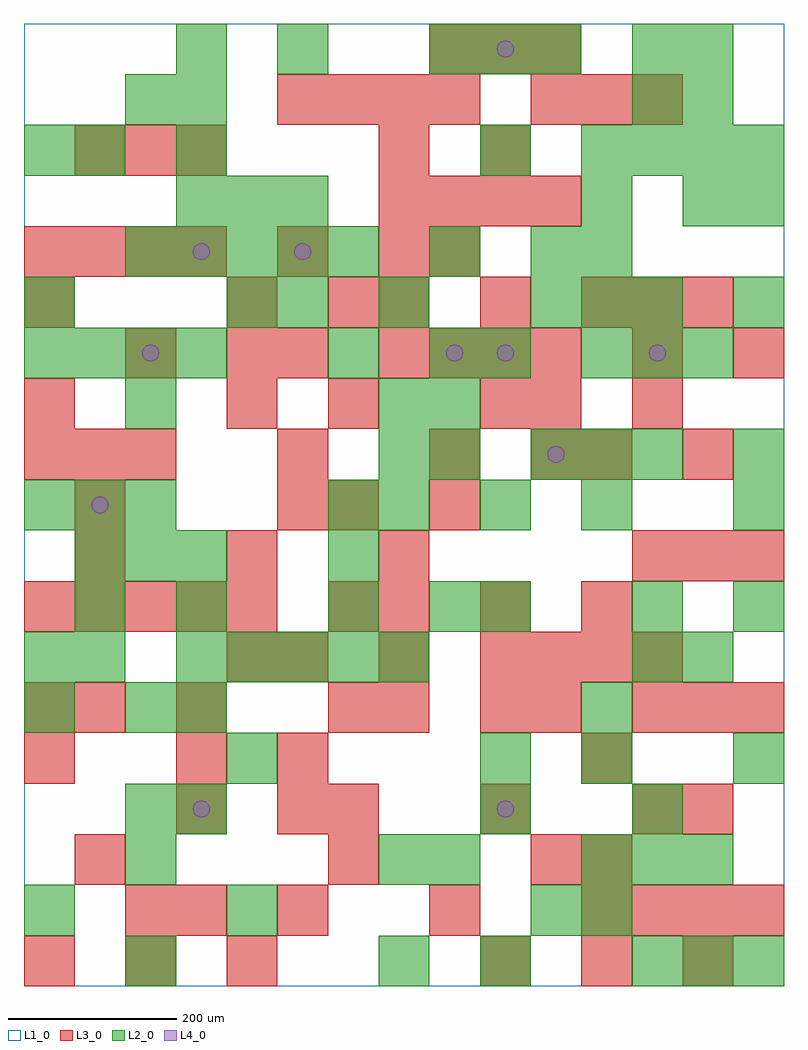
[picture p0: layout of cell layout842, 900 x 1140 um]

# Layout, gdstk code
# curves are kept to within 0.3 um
import gdstk
lib = gdstk.Library(unit=1e-6, precision=1e-09)
def R(c, l, rs):  # rectangles x0, y0, x1, y1
    for r in rs: c.add(gdstk.rectangle(r[:2], r[2:], *l))
def A(c, l, x, y, w, h, nx, ny, dx, dy):  # array of equal rectangles
    R(c, l, [(x+i*dx, y+j*dy, x+i*dx+w, y+j*dy+h) for i in range(nx) for j in range(ny)])
def P(c, l, *ps):  # polygons
    for p in ps: c.add(gdstk.Polygon(p, *l))
L1_0 = (1, 0)
L2_0 = (2, 0)
L3_0 = (3, 0)
L4_0 = (4, 0)

layout842 = lib.new_cell('layout842')
R(layout842, L1_0, [(0,0,900,1140)])
A(layout842, L2_0, 720, 0, 60, 60, 3, 1, 60, 0)
A(layout842, L2_0, 660, 120, 60, 60, 3, 2, 60, 600)
A(layout842, L2_0, 180, 180, 60, 60, 1, 3, 0, 120)
A(layout842, L2_0, 120, 300, 60, 60, 1, 3, 0, 360)
A(layout842, L2_0, 180, 360, 60, 60, 5, 1, 60, 0)
A(layout842, L2_0, 360, 420, 60, 60, 1, 3, 0, 60)
A(layout842, L2_0, 60, 480, 60, 60, 3, 1, 60, 0)
A(layout842, L2_0, 0, 540, 60, 60, 3, 1, 60, 0)
A(layout842, L2_0, 420, 540, 60, 60, 3, 1, 120, 0)
A(layout842, L2_0, 480, 600, 60, 60, 1, 3, 0, 60)
A(layout842, L2_0, 600, 600, 60, 60, 3, 2, 60, 180)
A(layout842, L2_0, 0, 720, 60, 60, 4, 1, 60, 0)
A(layout842, L2_0, 120, 840, 60, 60, 5, 1, 60, 0)
A(layout842, L2_0, 180, 900, 60, 60, 3, 1, 60, 0)
A(layout842, L2_0, 180, 960, 60, 60, 1, 3, 0, 60)
A(layout842, L2_0, 660, 960, 60, 60, 4, 1, 60, 0)
A(layout842, L2_0, 480, 1080, 60, 60, 3, 1, 60, 0)
R(layout842, L2_0, [(120,0,180,60), (420,0,480,60), (540,0,600,60), (0,60,60,120), (240,60,300,120), (600,60,660,120), (660,60,720,120), (120,120,180,180), (420,120,480,180), (480,120,540,180), (120,180,180,240), (540,180,600,240), (720,180,780,240), (240,240,300,300), (540,240,600,300), (660,240,720,300), (840,240,900,300), (0,300,60,360), (660,300,720,360), (0,360,60,420), (60,360,120,420), (720,360,780,420), (780,360,840,420), (60,420,120,480), (480,420,540,480), (540,420,600,480), (720,420,780,480), (840,420,900,480), (840,540,900,600), (420,600,480,660), (840,600,900,660), (420,660,480,720), (360,720,420,780), (540,720,600,780), (0,780,60,840), (240,780,300,840), (300,780,360,840), (420,780,480,840), (840,780,900,840), (480,840,540,900), (600,840,660,900), (660,840,720,900), (660,900,720,960), (780,900,840,960), (840,900,900,960), (0,960,60,1020), (60,960,120,1020), (540,960,600,1020), (720,1020,780,1080), (780,1020,840,1080), (300,1080,360,1140), (720,1080,780,1140), (780,1080,840,1140)])
A(layout842, L3_0, 0, 0, 60, 60, 3, 1, 120, 0)
A(layout842, L3_0, 540, 0, 60, 60, 3, 1, 120, 0)
A(layout842, L3_0, 300, 60, 60, 60, 3, 1, 180, 0)
A(layout842, L3_0, 720, 60, 60, 60, 3, 2, 60, 240)
A(layout842, L3_0, 180, 180, 60, 60, 1, 3, 0, 60)
A(layout842, L3_0, 360, 180, 60, 60, 3, 1, 180, 0)
A(layout842, L3_0, 360, 300, 60, 60, 1, 5, 0, 120)
A(layout842, L3_0, 300, 360, 60, 60, 3, 1, 120, 0)
A(layout842, L3_0, 600, 360, 60, 60, 3, 2, 60, 660)
A(layout842, L3_0, 0, 420, 60, 60, 5, 1, 60, 0)
A(layout842, L3_0, 420, 420, 60, 60, 3, 2, 120, 360)
A(layout842, L3_0, 60, 480, 60, 60, 3, 1, 180, 0)
A(layout842, L3_0, 720, 480, 60, 60, 3, 1, 60, 0)
A(layout842, L3_0, 0, 600, 60, 60, 3, 1, 60, 0)
A(layout842, L3_0, 300, 600, 60, 60, 1, 3, 0, 120)
A(layout842, L3_0, 240, 660, 60, 60, 1, 3, 0, 60)
A(layout842, L3_0, 720, 660, 60, 60, 1, 3, 0, 60)
A(layout842, L3_0, 420, 720, 60, 60, 4, 2, 60, 180)
A(layout842, L3_0, 0, 840, 60, 60, 4, 1, 60, 0)
A(layout842, L3_0, 60, 960, 60, 60, 3, 1, 60, 0)
A(layout842, L3_0, 300, 1020, 60, 60, 4, 1, 60, 0)
A(layout842, L3_0, 480, 1080, 60, 60, 3, 1, 60, 0)
R(layout842, L3_0, [(120,60,180,120), (180,60,240,120), (60,120,120,180), (360,120,420,180), (600,120,660,180), (660,120,720,180), (300,180,360,240), (780,180,840,240), (0,240,60,300), (300,240,360,300), (660,240,720,300), (0,300,60,360), (60,300,120,360), (420,300,480,360), (540,300,600,360), (600,300,660,360), (240,360,300,420), (60,540,120,600), (300,540,360,600), (480,540,540,600), (480,600,540,660), (600,600,660,660), (660,600,720,660), (780,600,840,660), (0,660,60,720), (540,660,600,720), (600,660,660,720), (120,720,180,780), (840,720,900,780), (0,780,60,840), (780,780,840,840), (420,840,480,900), (480,840,540,900), (420,960,480,1020), (540,960,600,1020)])
P(layout842, L4_0, [(100,570),(99.239,573.827),(97.071,577.071),(93.827,579.239),(90,580),(86.173,579.239),(82.929,577.071),(80.761,573.827),(80,570),(80.761,566.173),(82.929,562.929),(86.173,560.761),(90,560),(93.827,560.761),(97.071,562.929),(99.239,566.173)],
  [(160,750),(159.239,753.827),(157.071,757.071),(153.827,759.239),(150,760),(146.173,759.239),(142.929,757.071),(140.761,753.827),(140,750),(140.761,746.173),(142.929,742.929),(146.173,740.761),(150,740),(153.827,740.761),(157.071,742.929),(159.239,746.173)],
  [(220,210),(219.239,213.827),(217.071,217.071),(213.827,219.239),(210,220),(206.173,219.239),(202.929,217.071),(200.761,213.827),(200,210),(200.761,206.173),(202.929,202.929),(206.173,200.761),(210,200),(213.827,200.761),(217.071,202.929),(219.239,206.173)],
  [(220,870),(219.239,873.827),(217.071,877.071),(213.827,879.239),(210,880),(206.173,879.239),(202.929,877.071),(200.761,873.827),(200,870),(200.761,866.173),(202.929,862.929),(206.173,860.761),(210,860),(213.827,860.761),(217.071,862.929),(219.239,866.173)],
  [(340,870),(339.239,873.827),(337.071,877.071),(333.827,879.239),(330,880),(326.173,879.239),(322.929,877.071),(320.761,873.827),(320,870),(320.761,866.173),(322.929,862.929),(326.173,860.761),(330,860),(333.827,860.761),(337.071,862.929),(339.239,866.173)],
  [(520,750),(519.239,753.827),(517.071,757.071),(513.827,759.239),(510,760),(506.173,759.239),(502.929,757.071),(500.761,753.827),(500,750),(500.761,746.173),(502.929,742.929),(506.173,740.761),(510,740),(513.827,740.761),(517.071,742.929),(519.239,746.173)],
  [(580,210),(579.239,213.827),(577.071,217.071),(573.827,219.239),(570,220),(566.173,219.239),(562.929,217.071),(560.761,213.827),(560,210),(560.761,206.173),(562.929,202.929),(566.173,200.761),(570,200),(573.827,200.761),(577.071,202.929),(579.239,206.173)],
  [(580,750),(579.239,753.827),(577.071,757.071),(573.827,759.239),(570,760),(566.173,759.239),(562.929,757.071),(560.761,753.827),(560,750),(560.761,746.173),(562.929,742.929),(566.173,740.761),(570,740),(573.827,740.761),(577.071,742.929),(579.239,746.173)],
  [(580,1110),(579.239,1113.827),(577.071,1117.071),(573.827,1119.239),(570,1120),(566.173,1119.239),(562.929,1117.071),(560.761,1113.827),(560,1110),(560.761,1106.173),(562.929,1102.929),(566.173,1100.761),(570,1100),(573.827,1100.761),(577.071,1102.929),(579.239,1106.173)],
  [(640,630),(639.239,633.827),(637.071,637.071),(633.827,639.239),(630,640),(626.173,639.239),(622.929,637.071),(620.761,633.827),(620,630),(620.761,626.173),(622.929,622.929),(626.173,620.761),(630,620),(633.827,620.761),(637.071,622.929),(639.239,626.173)],
  [(760,750),(759.239,753.827),(757.071,757.071),(753.827,759.239),(750,760),(746.173,759.239),(742.929,757.071),(740.761,753.827),(740,750),(740.761,746.173),(742.929,742.929),(746.173,740.761),(750,740),(753.827,740.761),(757.071,742.929),(759.239,746.173)])

lib.write_gds('layout842.gds')
